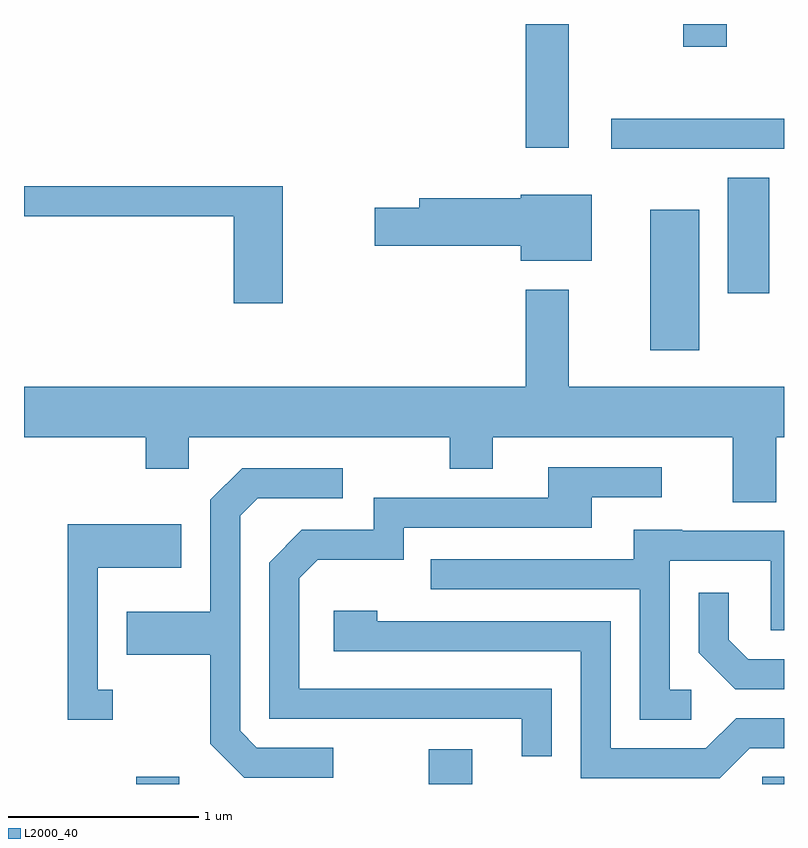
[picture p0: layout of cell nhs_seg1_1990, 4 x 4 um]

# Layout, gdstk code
import gdstk
lib = gdstk.Library(unit=1e-6, precision=1e-09)
def R(c, l, rs):  # rectangles x0, y0, x1, y1
    for r in rs: c.add(gdstk.rectangle(r[:2], r[2:], *l))
def P(c, l, *ps):  # polygons
    for p in ps: c.add(gdstk.Polygon(p, *l))
L2000_40 = (2000, 40)

nhs_seg1_1990 = lib.new_cell('nhs_seg1_1990')
R(nhs_seg1_1990, L2000_40, [(246.201,937.712,246.429,937.749), (247.741,937.712,247.969,937.894), (249.496,937.712,249.611,937.749), (248.906,939.996,249.164,940.734), (249.316,940.296,249.534,940.904), (248.703,941.056,249.611,941.214), (248.251,941.061,248.479,941.712), (249.081,941.591,249.309,941.712)])
P(nhs_seg1_1990, L2000_40, [(246.974,940.859),(245.611,940.859),(245.611,940.701),(246.716,940.701),(246.716,940.241),(246.974,940.241)],
  [(248.599,940.814),(248.226,940.814),(248.226,940.794),(247.691,940.794),(247.691,940.744),(247.456,940.744),(247.456,940.546),(248.226,940.546),(248.226,940.466),(248.599,940.466)],
  [(249.569,939.536),(249.611,939.536),(249.611,939.804),(248.479,939.804),(248.479,940.314),(248.251,940.314),(248.251,939.804),(245.611,939.804),(245.611,939.536),(246.251,939.536),(246.251,939.371),(246.479,939.371),(246.479,939.536),(247.851,939.536),(247.851,939.371),(248.079,939.371),(248.079,939.536),(249.341,939.536),(249.341,939.196),(249.569,939.196)],
  [(248.389,938.214),(247.059,938.214),(247.059,938.794),(247.157,938.891),(247.609,938.891),(247.609,939.061),(248.599,939.061),(248.599,939.221),(248.968,939.221),(248.968,939.379),(248.371,939.379),(248.371,939.219),(247.451,939.219),(247.451,939.049),(247.074,939.049),(246.901,938.877),(246.901,938.056),(248.231,938.056),(248.231,937.858),(248.389,937.858)],
  [(247.238,937.904),(246.837,937.904),(246.749,937.992),(246.749,939.124),(246.842,939.216),(247.288,939.216),(247.288,939.374),(246.759,939.374),(246.591,939.207),(246.591,938.619),(246.151,938.619),(246.151,938.391),(246.591,938.391),(246.591,937.924),(246.769,937.746),(247.238,937.746)],
  [(246.078,938.209),(245.999,938.209),(245.999,938.851),(246.439,938.851),(246.439,939.079),(245.841,939.079),(245.841,938.051),(246.078,938.051)],
  [(249.123,938.209),(249.009,938.209),(249.009,938.886),(249.541,938.886),(249.541,938.521),(249.611,938.521),(249.611,939.044),(249.075,939.044),(249.075,939.049),(248.821,939.049),(248.821,938.894),(247.753,938.894),(247.753,938.736),(248.851,938.736),(248.851,938.051),(249.123,938.051)],
  [(249.611,938.369),(249.422,938.369),(249.319,938.472),(249.319,938.718),(249.161,938.718),(249.161,938.404),(249.354,938.211),(249.611,938.211)],
  [(249.432,937.901),(249.611,937.901),(249.611,938.059),(249.359,938.059),(249.199,937.899),(248.699,937.899),(248.699,938.569),(247.469,938.569),(247.469,938.624),(247.241,938.624),(247.241,938.411),(248.541,938.411),(248.541,937.741),(249.272,937.741)])

lib.write_gds('nhs_seg1_1990.gds')
